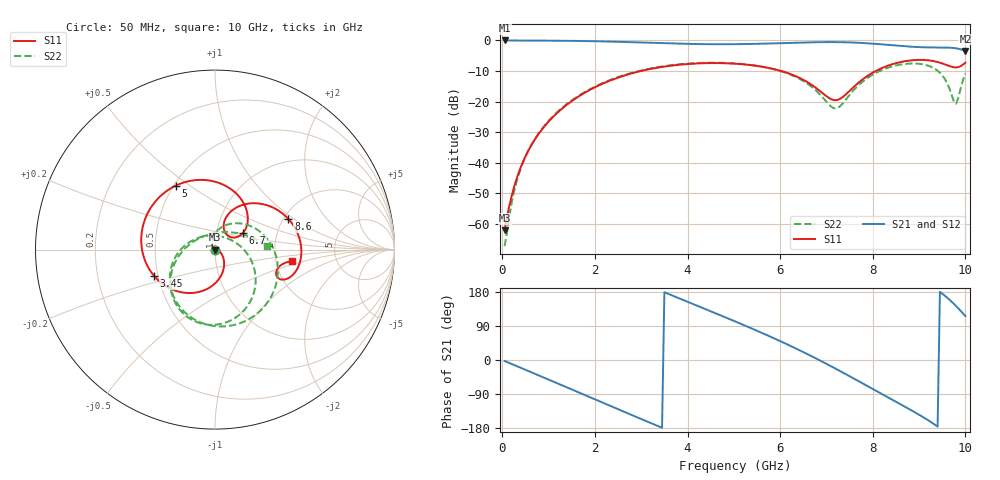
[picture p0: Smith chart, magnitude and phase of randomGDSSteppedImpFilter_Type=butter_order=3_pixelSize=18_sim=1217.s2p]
! freq	dB(S11)	phase(S11)	dB(S12)	phase(S12)
!  dB(S21)	phase(S21)	dB(S22)	phase(S22)
!S-par simulation data
#  GHz  S  DB  R 50
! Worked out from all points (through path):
!   200 points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, 50 MHz to 10 GHz, reference 50 ohm
!   highest |S21| = 0.00 dB at 50 MHz (marker M1); lowest = -3.5 dB at 10 GHz (marker M2)
!   group delay of S21, straight-line fit = 158 ps
!   lowest |S11| = -62.1 dB at 50 MHz (marker M3), VSWR 1.00, Z = 50.1 + j0.0534 ohm
!   |S11| at or under -10 dB: start of sweep to 2.99 GHz; 6.027 GHz to 8.063 GHz (2.036 GHz wide, 28.9 % of centre)
!   |S22| runs from -67.2 to -7.3 dB; largest |S21 - S12| = 0
!   S11 on the Smith chart (normalised r, x): 50 MHz: 1.00, +0.00; 3.45 GHz: 0.48, -0.16; 5 GHz: 0.51, +0.44; 6.7 GHz: 1.34, +0.26; 8.6 GHz: 2.13, +0.90; 10 GHz: 2.45, -0.39
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0.05  -62.08 42.6  -0.00 -2.6  -0.00 -2.6  -67.21 28.0
0.3  -45.64 8.8  -0.03 -15.5  -0.03 -15.5  -46.60 131.8
0.6  -34.95 -13.6  -0.05 -31.0  -0.05 -31.0  -34.90 129.4
1.1  -24.91 -40.7  -0.08 -56.9  -0.08 -56.9  -24.66 105.7
1.75  -17.35 -72.4  -0.19 -90.8  -0.19 -90.8  -17.12 69.8
2.65  -11.40 -116.5  -0.51 -137.7  -0.51 -137.7  -11.23 20.1
3.4  -8.77 -154.1  -0.87 -176.2  -0.87 -176.2  -8.62 -18.9
3.45  -8.65 -156.6  -0.90 -178.8  -0.90 -178.8  -8.50 -21.4
4.15  -7.56 167.4  -1.17 146.1  -1.17 146.1  -7.43 -55.1
5  -7.57 121.5  -1.23 103.3  -1.23 103.3  -7.48 -93.9
5.05  -7.62 118.7  -1.22 100.7  -1.22 100.7  -7.53 -96.2
5.85  -9.31 72.7  -0.96 58.2  -0.96 58.2  -9.34 -133.9
6.7  -14.72 30.9  -0.60 8.7  -0.60 8.7  -15.39 172.6
7.2  -19.52 50.1  -0.54 -23.0  -0.54 -23.0  -22.23 82.6
7.8  -12.51 66.6  -0.85 -63.0  -0.85 -63.0  -13.22 -18.9
8.35  -8.12 37.6  -1.48 -100.0  -1.48 -100.0  -8.80 -60.2
8.6  -7.07 22.6  -1.79 -116.8  -1.79 -116.8  -7.88 -77.1
9  -6.35 -0.8  -2.18 -144.4  -2.18 -144.4  -7.63 -105.3
9.35  -6.86 -18.4  -2.29 -171.4  -2.29 -171.4  -9.35 -135.5
9.55  -7.78 -24.2  -2.31 170.2  -2.31 170.2  -12.44 -161.0
9.8  -8.82 -18.4  -2.57 142.3  -2.57 142.3  -20.66 93.9
10  -7.27 -8.7  -3.47 115.9  -3.47 115.9  -10.77 4.0
